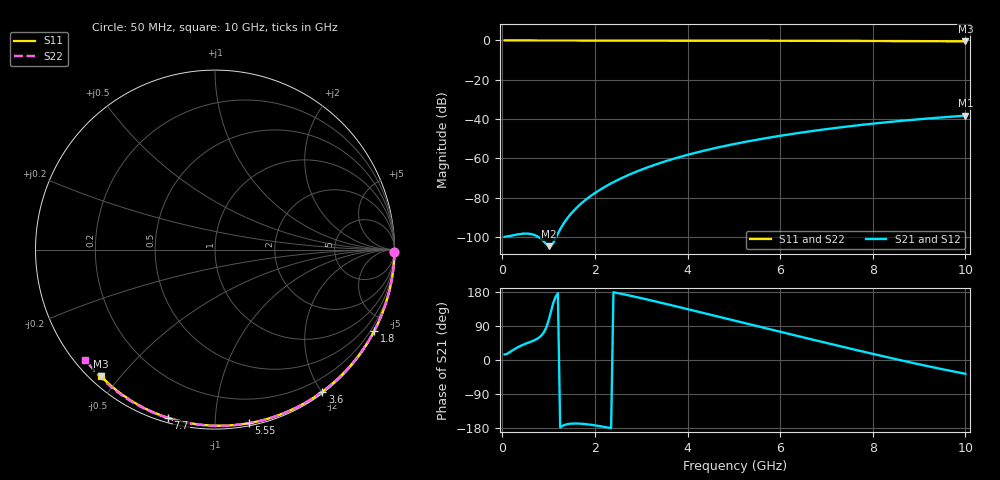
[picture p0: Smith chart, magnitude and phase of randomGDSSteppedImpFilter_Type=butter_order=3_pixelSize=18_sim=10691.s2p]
! freq	dB(S11)	phase(S11)	dB(S12)	phase(S12)
!  dB(S21)	phase(S21)	dB(S22)	phase(S22)
!S-par simulation data
#  GHz  S  DB  R 50
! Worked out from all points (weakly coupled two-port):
!   200 points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, 50 MHz to 10 GHz, reference 50 ohm
!   highest |S21| = -38.26 dB at 10 GHz (marker M1); lowest = -104.7 dB at 1 GHz (marker M2)
!   lowest |S11| = -0.5 dB at 10 GHz (marker M3), VSWR 38.55, Z = 1.55 - j22.2 ohm
!   |S11| at or under -10 dB: nowhere
!   |S22| runs from -0.5 to 0.0 dB; largest |S21 - S12| = 0
!   S11 on the Smith chart (normalised r, x): 50 MHz: open; 1.8 GHz: 0.04, -4.15; 3.6 GHz: 0.02, -2.01; 5.55 GHz: 0.02, -1.21; 7.7 GHz: 0.02, -0.76; 10 GHz: 0.03, -0.44
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0.05  -0.00 -0.8  -99.96 14.7  -99.96 14.7  -0.00 -0.8
0.5  -0.01 -7.6  -98.29 42.8  -98.29 42.8  -0.01 -8.1
1  -0.02 -15.2  -104.70 104.3  -104.70 104.3  -0.02 -16.1
1.75  -0.03 -26.3  -82.06 -168.7  -82.06 -168.7  -0.04 -27.9
1.8  -0.03 -27.1  -81.09 -169.3  -81.09 -169.3  -0.04 -28.7
1.85  -0.04 -27.8  -80.18 -169.9  -80.18 -169.9  -0.04 -29.5
2.2  -0.04 -32.9  -74.71 -176.5  -74.71 -176.5  -0.04 -34.9
2.55  -0.05 -38.0  -70.35 175.2  -70.35 175.2  -0.05 -40.3
2.95  -0.06 -43.8  -66.26 164.6  -66.26 164.6  -0.06 -46.4
3.4  -0.07 -50.1  -62.43 151.9  -62.43 151.9  -0.07 -53.1
3.6  -0.07 -52.9  -60.93 146.1  -60.93 146.1  -0.08 -56.0
3.9  -0.08 -57.1  -58.86 137.2  -58.86 137.2  -0.08 -60.4
4.3  -0.09 -62.6  -56.41 125.3  -56.41 125.3  -0.09 -66.2
5.05  -0.11 -72.6  -52.52 102.8  -52.52 102.8  -0.12 -76.7
5.55  -0.13 -79.1  -50.31 87.9  -50.31 87.9  -0.14 -83.5
6.1  -0.15 -86.1  -48.16 71.5  -48.16 71.5  -0.16 -90.9
6.7  -0.18 -93.5  -46.07 53.8  -46.07 53.8  -0.19 -98.7
7.2  -0.21 -99.6  -44.52 39.1  -44.52 39.1  -0.22 -105.1
7.7  -0.24 -105.6  -43.12 24.7  -43.12 24.7  -0.25 -111.4
8.35  -0.29 -113.2  -41.51 6.3  -41.51 6.3  -0.31 -119.5
9.2  -0.36 -123.0  -39.71 -16.6  -39.71 -16.6  -0.38 -129.9
10  -0.45 -132.1  -38.26 -36.4  -38.26 -36.4  -0.47 -139.7
